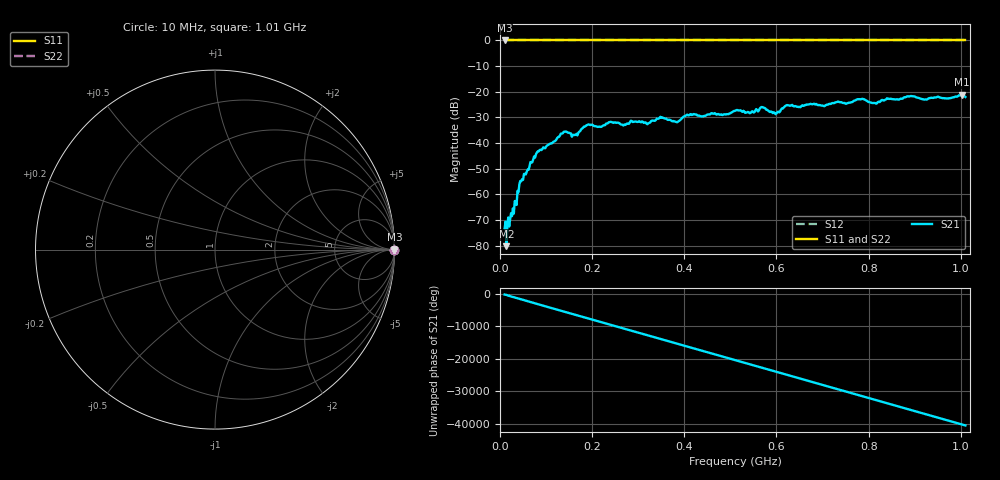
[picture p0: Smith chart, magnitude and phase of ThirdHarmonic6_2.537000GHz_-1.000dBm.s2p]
! 8/17/2025 5:06:02 AM
! C:\ANRITSUVNA\TEMP\TEMP.S2P
! CHANNEL.1
! TR.MEASUREMENT
! RAW.DATA
! RF.CORRECTION.OFF
! AVERAGING.OFF
! IF.BANDWIDTH: 5KHZ
! SWEEPTYPE:  FREQ.SWEEP(Linear)
! Reference Plane Port Info
! PORT:  PORT1  PORT2
! DISTANCE:  0  m  0  m
! TIME:  0  s  0  s
! PHASE.OFFSET:  0  deg.  0  deg.
! LOSS:  0  dB  0  dB
! REF.LOSS:  0  dB  0  dB
! REF.FREQ:  0  Hz  0  Hz
! Power Info
! POWER:  -20  dBm  -20  dBm
! EFF.POWER:  -20  dBm  -20  dBm
! SOURCE.ATTEN:  0  dB  0  dB
! TEST.ATTEN:  0  dB  0  dB
# GHZ S RI R 50.0
! FREQ.GHZ  S11RE  S11IM  S21RE  S21IM  S12RE  S12IM  S22RE  S22IM
!; PortSelection: Port_12
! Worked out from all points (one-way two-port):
!   501 points, 10 MHz to 1.01 GHz, reference 50 ohm
!   highest |S21| = -21.11 dB at 1.002 GHz (marker M1); lowest = -80.2 dB at 14 MHz (marker M2)
!   lowest |S11| = 0.0 dB at 10 MHz (marker M3)
!   |S11| at or under -10 dB: nowhere
!   |S22| runs from 0.0 to 0.0 dB; largest |S21 - S12| = 1.1
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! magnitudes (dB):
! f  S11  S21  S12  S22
! 10 MHz  0.0  -73.3  0.0  0.0
! 14 MHz  0.0  -80.2  0.0  0.0
! 18 MHz  0.0  -69.0  0.0  0.0
! 46 MHz  0.0  -54.9  0.0  0.0
! 82 MHz  0.0  -43.2  0.0  0.0
! 136 MHz  0.0  -36.2  0.0  0.0
! 160 MHz  0.0  -36.8  0.0  0.0
! 178 MHz  0.0  -34.3  0.0  0.0
! 240 MHz  0.0  -31.7  0.0  0.0
! 322 MHz  0.0  -32.3  0.0  0.0
! 344 MHz  0.0  -30.5  0.0  0.0
! 384 MHz  0.0  -31.9  0.0  0.0
! 410 MHz  0.0  -29.2  0.0  0.0
! 510 MHz  0.0  -27.4  0.0  0.0
! 546 MHz  0.0  -27.8  0.0  0.0
! 570 MHz  0.0  -26.0  0.0  0.0
! 596 MHz  0.0  -28.2  0.0  0.0
! 622 MHz  0.0  -25.2  0.0  0.0
! 678 MHz  0.0  -24.9  0.0  0.0
! 844 MHz  0.0  -22.8  0.0  0.0
! 1.002 GHz  0.0  -21.1  0.0  0.0
! 1.01 GHz  0.0  -22.0  0.0  0.0
